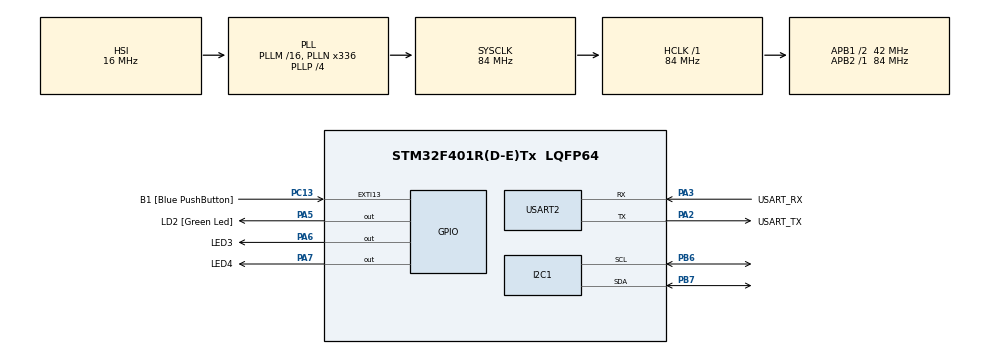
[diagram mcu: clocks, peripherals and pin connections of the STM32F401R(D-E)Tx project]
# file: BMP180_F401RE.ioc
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I2C1.I2C_Mode=I2C_Fast
Mcu.Family=STM32F4
Mcu.Name=STM32F401R(D-E)Tx
Mcu.Package=LQFP64
NVIC.PriorityGroup=NVIC_PRIORITYGROUP_0
PA13.GPIO_Label=TMS
PA13.Mode=Serial_Wire
PA13.Signal=SYS_JTMS-SWDIO
PA14.GPIO_Label=TCK
PA14.Mode=Serial_Wire
PA14.Signal=SYS_JTCK-SWCLK
PA2.GPIO_Label=USART_TX
PA2.GPIO_Mode=GPIO_MODE_AF_PP
PA2.GPIO_PuPd=GPIO_NOPULL
PA2.GPIO_Speed=GPIO_SPEED_FREQ_LOW
PA2.Mode=Asynchronous
PA2.Signal=USART2_TX
PA3.GPIO_Label=USART_RX
PA3.GPIO_Mode=GPIO_MODE_AF_PP
PA3.GPIO_PuPd=GPIO_NOPULL
PA3.GPIO_Speed=GPIO_SPEED_FREQ_LOW
PA3.Mode=Asynchronous
PA3.Signal=USART2_RX
PA5.GPIO_Label=LD2 [Green Led]
PA5.GPIO_Mode=GPIO_MODE_OUTPUT_PP
PA5.GPIO_PuPd=GPIO_NOPULL
PA5.GPIO_Speed=GPIO_SPEED_FREQ_LOW
PA5.Signal=GPIO_Output
PA6.GPIO_Label=LED3
PA6.Signal=GPIO_Output
PA7.GPIO_Label=LED4
PA7.Signal=GPIO_Output
PB3.GPIO_Label=SWO
PB3.Signal=SYS_JTDO-SWO
PB6.Mode=I2C
PB6.Signal=I2C1_SCL
PB7.Mode=I2C
PB7.Signal=I2C1_SDA
PC13-ANTI_TAMP.GPIO_Label=B1 [Blue PushButton]
PC13-ANTI_TAMP.GPIO_ModeDefaultEXTI=GPIO_MODE_IT_FALLING
PC13-ANTI_TAMP.GPIO_PuPd=GPIO_NOPULL
PC13-ANTI_TAMP.Signal=GPXTI13
PC14-OSC32_IN.Mode=LSE-External-Oscillator
PC14-OSC32_IN.Signal=RCC_OSC32_IN
PC15-OSC32_OUT.Mode=LSE-External-Oscillator
PC15-OSC32_OUT.Signal=RCC_OSC32_OUT
PH0\ -\ OSC_IN.Mode=HSE-External-Clock-Source
PH0\ -\ OSC_IN.Signal=RCC_OSC_IN
PH1\ -\ OSC_OUT.Mode=HSE-External-Clock-Source
PH1\ -\ OSC_OUT.Signal=RCC_OSC_OUT
ProjectManager.HeapSize=0x200
ProjectManager.StackSize=0x400
ProjectManager.TargetToolchain=STM32CubeIDE
RCC.48MHZClocksFreq_Value=48000000
RCC.AHBFreq_Value=84000000
RCC.APB1CLKDivider=RCC_HCLK_DIV2
RCC.APB1Freq_Value=42000000
RCC.APB1TimFreq_Value=84000000
RCC.APB2Freq_Value=84000000
RCC.APB2TimFreq_Value=84000000
RCC.CortexFreq_Value=84000000
RCC.HCLKFreq_Value=84000000
RCC.HSE_VALUE=8000000
RCC.HSI_VALUE=16000000
RCC.PLLN=336
RCC.PLLP=RCC_PLLP_DIV4
RCC.PLLQ=7
RCC.SYSCLKFreq_VALUE=84000000
RCC.SYSCLKSource=RCC_SYSCLKSOURCE_PLLCLK
RCC.VCOOutputFreq_Value=336000000
USART2.VirtualMode=VM_ASYNC
board=NUCLEO-F401RE

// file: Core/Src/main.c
/* USER CODE BEGIN Header */
/**
  ******************************************************************************
  * @file           : main.c
  * @brief          : Main program body
  ******************************************************************************
  * @attention
  *
  * Copyright (c) 2023 STMicroelectronics.
  * All rights reserved.
  *
  * This software is licensed under terms that can be found in the LICENSE file
  * in the root directory of this software component.
  * If no LICENSE file comes with this software, it is provided AS-IS.
  *
  ******************************************************************************
  */
/* USER CODE END Header */
#include "main.h"

/* USER CODE BEGIN Includes */

#include <stdio.h>
#include <string.h>
#include <stdint.h>
#include <stdbool.h>

/*---------------------------------------------------------------------------------------------------*/
/*Archivo de cabezera donde se incluyen las funciones de retardo no bloqueante                       */
/*---------------------------------------------------------------------------------------------------*/

//#include "API_delay.h"

/*---------------------------------------------------------------------------------------------------*/
/*Archivo de cabezera donde se incluyen las funciones del sensor BMP180                      */
/*---------------------------------------------------------------------------------------------------*/

//#include "BMP180.h"
#include "i2c-lcd.h"

/* USER CODE END Includes */

I2C_HandleTypeDef hi2c1;

UART_HandleTypeDef huart2;

void SystemClock_Config(void);
static void MX_GPIO_Init(void);
static void MX_USART2_UART_Init(void);
static void MX_I2C1_Init(void);

/* USER CODE BEGIN 0 */

float Temperature = 0;
float Pressure = 0;
float Altitude = 0;

uint16_t num = 20;
char buf[10];

uint16_t chip_ID;

/* USER CODE END 0 */

int main(void)
{
  /* USER CODE BEGIN 1 */

	//Definiciones de distintas instancias de la estructura delay_t
	//delay_t delay01;

  /* USER CODE END 1 */

  /* MCU Configuration--------------------------------------------------------*/

  /* Reset of all peripherals, Initializes the Flash interface and the Systick. */
  HAL_Init();

  /* Configure the system clock */
  SystemClock_Config();

  /* Initialize all configured peripherals */
  MX_GPIO_Init();
  MX_USART2_UART_Init();
  MX_I2C1_Init();
  /* USER CODE BEGIN 2 */

  lcd_init();

  //el or se hace según la posición de memoria de inicio
  //depende de la tabla de memoria que es distinta en 16x4 y 20x4
  //ver https://controllerstech.com/lcd-20x4-using-i2c-with-stm32/
  lcd_send_cmd (0x80|0x00);
  lcd_send_string("HELLO WORLD");

  lcd_send_cmd (0x80|0x40);
  lcd_send_string("LCD 16x4 DEMO");

  lcd_send_cmd (0x80|0x10);
  lcd_send_string("BY");

  lcd_send_cmd (0x80|0x50);
  lcd_send_string("ControllersTech");

  HAL_Delay(4000);

  sprintf (buf,"Valor= %u", num);
  //sprintf(buf,"hola    ");
  lcd_send_cmd (0x80|0x00);
  lcd_send_string (buf);

  /* USER CODE END 2 */

  /* Infinite loop */
  while (1)
  {

    /* USER CODE BEGIN 3 */

/*	  for (int i=0; i<5; i++)
	  {
		  lcd_send_cmd (0x1C);  // display shift right
		  HAL_Delay(350);
	  }

	  for (int i=0; i<5; i++)
	  {
		  lcd_send_cmd (0x18);  // display shift left
		  HAL_Delay(350);
	  }*/

  }
  /* USER CODE END 3 */
}

void SystemClock_Config(void)
{
  RCC_OscInitTypeDef RCC_OscInitStruct = {0};
  RCC_ClkInitTypeDef RCC_ClkInitStruct = {0};

  /** Configure the main internal regulator output voltage
  */
  __HAL_RCC_PWR_CLK_ENABLE();
  __HAL_PWR_VOLTAGESCALING_CONFIG(PWR_REGULATOR_VOLTAGE_SCALE2);

  /** Initializes the RCC Oscillators according to the specified parameters
  * in the RCC_OscInitTypeDef structure.
  */
  RCC_OscInitStruct.OscillatorType = RCC_OSCILLATORTYPE_HSI;
  RCC_OscInitStruct.HSIState = RCC_HSI_ON;
  RCC_OscInitStruct.HSICalibrationValue = RCC_HSICALIBRATION_DEFAULT;
  RCC_OscInitStruct.PLL.PLLState = RCC_PLL_ON;
  RCC_OscInitStruct.PLL.PLLSource = RCC_PLLSOURCE_HSI;
  RCC_OscInitStruct.PLL.PLLM = 16;
  RCC_OscInitStruct.PLL.PLLN = 336;
  RCC_OscInitStruct.PLL.PLLP = RCC_PLLP_DIV4;
  RCC_OscInitStruct.PLL.PLLQ = 7;
  if (HAL_RCC_OscConfig(&RCC_OscInitStruct) != HAL_OK)
  {
    Error_Handler();
  }

  /** Initializes the CPU, AHB and APB buses clocks
  */
  RCC_ClkInitStruct.ClockType = RCC_CLOCKTYPE_HCLK|RCC_CLOCKTYPE_SYSCLK
                              |RCC_CLOCKTYPE_PCLK1|RCC_CLOCKTYPE_PCLK2;
  RCC_ClkInitStruct.SYSCLKSource = RCC_SYSCLKSOURCE_PLLCLK;
  RCC_ClkInitStruct.AHBCLKDivider = RCC_SYSCLK_DIV1;
  RCC_ClkInitStruct.APB1CLKDivider = RCC_HCLK_DIV2;
  RCC_ClkInitStruct.APB2CLKDivider = RCC_HCLK_DIV1;

  if (HAL_RCC_ClockConfig(&RCC_ClkInitStruct, FLASH_LATENCY_2) != HAL_OK)
  {
    Error_Handler();
  }
}

static void MX_I2C1_Init(void)
{

  hi2c1.Instance = I2C1;
  hi2c1.Init.ClockSpeed = 400000;
  hi2c1.Init.DutyCycle = I2C_DUTYCYCLE_2;
  hi2c1.Init.OwnAddress1 = 0;
  hi2c1.Init.AddressingMode = I2C_ADDRESSINGMODE_7BIT;
  hi2c1.Init.DualAddressMode = I2C_DUALADDRESS_DISABLE;
  hi2c1.Init.OwnAddress2 = 0;
  hi2c1.Init.GeneralCallMode = I2C_GENERALCALL_DISABLE;
  hi2c1.Init.NoStretchMode = I2C_NOSTRETCH_DISABLE;
  if (HAL_I2C_Init(&hi2c1) != HAL_OK)
  {
    Error_Handler();
  }

}

static void MX_USART2_UART_Init(void)
{

  huart2.Instance = USART2;
  huart2.Init.BaudRate = 115200;
  huart2.Init.WordLength = UART_WORDLENGTH_8B;
  huart2.Init.StopBits = UART_STOPBITS_1;
  huart2.Init.Parity = UART_PARITY_NONE;
  huart2.Init.Mode = UART_MODE_TX_RX;
  huart2.Init.HwFlowCtl = UART_HWCONTROL_NONE;
  huart2.Init.OverSampling = UART_OVERSAMPLING_16;
  if (HAL_UART_Init(&huart2) != HAL_OK)
  {
    Error_Handler();
  }

}

static void MX_GPIO_Init(void)
{
  GPIO_InitTypeDef GPIO_InitStruct = {0};

  /* GPIO Ports Clock Enable */
  __HAL_RCC_GPIOC_CLK_ENABLE();
  __HAL_RCC_GPIOH_CLK_ENABLE();
  __HAL_RCC_GPIOA_CLK_ENABLE();
  __HAL_RCC_GPIOB_CLK_ENABLE();

  /*Configure GPIO pin Output Level */
  HAL_GPIO_WritePin(GPIOA, LD2_Pin|LED3_Pin|LED4_Pin, GPIO_PIN_RESET);

  /*Configure GPIO pin : B1_Pin */
  GPIO_InitStruct.Pin = B1_Pin;
  GPIO_InitStruct.Mode = GPIO_MODE_IT_FALLING;
  GPIO_InitStruct.Pull = GPIO_NOPULL;
  HAL_GPIO_Init(B1_GPIO_Port, &GPIO_InitStruct);

  /*Configure GPIO pins : LD2_Pin LED3_Pin LED4_Pin */
  GPIO_InitStruct.Pin = LD2_Pin|LED3_Pin|LED4_Pin;
  GPIO_InitStruct.Mode = GPIO_MODE_OUTPUT_PP;
  GPIO_InitStruct.Pull = GPIO_NOPULL;
  GPIO_InitStruct.Speed = GPIO_SPEED_FREQ_LOW;
  HAL_GPIO_Init(GPIOA, &GPIO_InitStruct);

}

void Error_Handler(void)
{
  __disable_irq();
  while (1)
  {
  }
}
